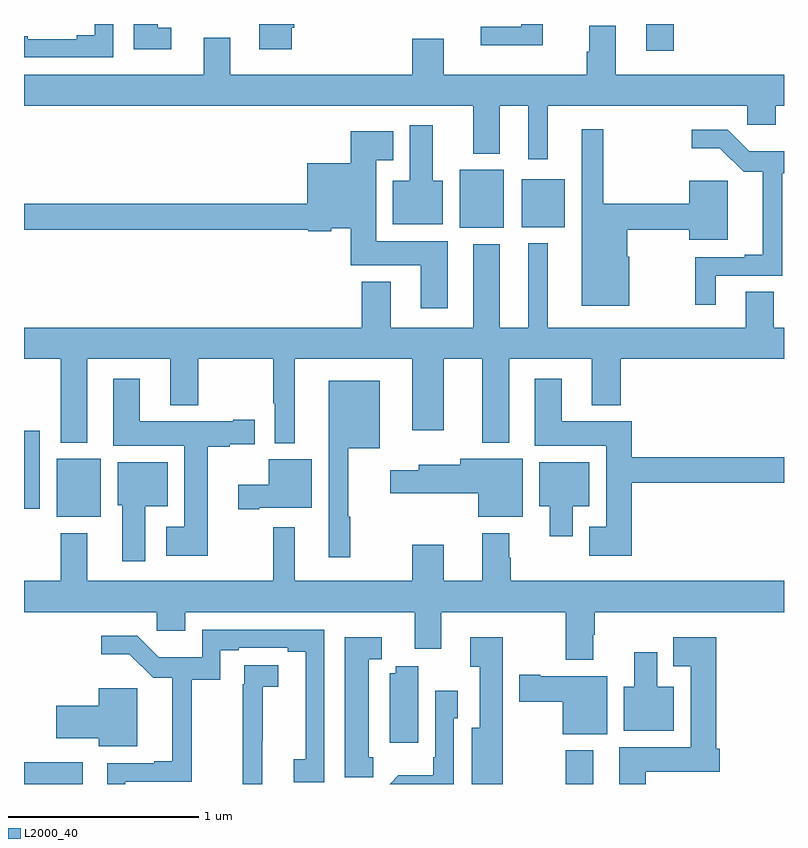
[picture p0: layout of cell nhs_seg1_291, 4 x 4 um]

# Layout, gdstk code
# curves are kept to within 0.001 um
import gdstk
lib = gdstk.Library(unit=1e-6, precision=1e-09)
def R(c, l, rs):  # rectangles x0, y0, x1, y1
    for r in rs: c.add(gdstk.rectangle(r[:2], r[2:], *l))
def P(c, l, *ps):  # polygons
    for p in ps: c.add(gdstk.Polygon(p, *l))
L2000_40 = (2000, 40)

nhs_seg1_291 = lib.new_cell('nhs_seg1_291')
R(nhs_seg1_291, L2000_40, [(127,512.199,127.309,512.314), (129.85,512.199,129.997,512.377), (127.172,513.605,127.405,513.91), (127,513.647,127.084,514.057), (129.293,515.126,129.526,515.431), (129.62,515.129,129.847,515.383), (130.274,516.057,130.421,516.199)])
P(nhs_seg1_291, L2000_40, [(129.729,516.199),(129.617,516.199),(129.617,516.184),(129.405,516.184),(129.405,516.086),(129.729,516.086)],
  [(128.41,516.178),(128.423,516.178),(128.423,516.199),(128.238,516.199),(128.238,516.066),(128.41,516.066)],
  [(127.774,516.18),(127.705,516.18),(127.705,516.199),(127.577,516.199),(127.577,516.065),(127.774,516.065)],
  [(127.47,516.199),(127.373,516.199),(127.373,516.14),(127.277,516.14),(127.277,516.12),(127.021,516.12),(127.021,516.134),(127,516.134),(127,516.024),(127.47,516.024)],
  [(129.757,515.768),(130.806,515.768),(130.806,515.67),(130.957,515.67),(130.957,515.768),(131,515.768),(131,515.932),(130.114,515.932),(130.114,516.19),(129.974,516.19),(129.974,516.053),(129.962,516.053),(129.962,515.932),(129.208,515.932),(129.208,516.121),(129.044,516.121),(129.044,515.932),(128.086,515.932),(128.086,516.127),(127.946,516.127),(127.946,515.932),(127,515.932),(127,515.768),(129.365,515.768),(129.365,515.516),(129.505,515.516),(129.505,515.768),(129.653,515.768),(129.653,515.487),(129.757,515.487)],
  [(129.205,515.374),(129.151,515.374),(129.151,515.665),(129.029,515.665),(129.029,515.374),(128.942,515.374),(128.942,515.144),(129.205,515.144)],
  [(130.186,514.974),(130.174,514.974),(130.174,515.116),(130.502,515.116),(130.502,515.063),(130.705,515.063),(130.705,515.373),(130.502,515.373),(130.502,515.252),(130.049,515.252),(130.049,515.644),(129.935,515.644),(129.935,514.715),(130.186,514.715)],
  [(130.642,514.875),(130.991,514.875),(130.991,515.413),(131,515.413),(131,515.53),(130.817,515.53),(130.704,515.643),(130.515,515.643),(130.515,515.546),(130.663,515.546),(130.789,515.421),(130.889,515.421),(130.889,514.984),(130.793,514.984),(130.793,514.971),(130.533,514.971),(130.533,514.722),(130.642,514.722)],
  [(129.229,515.056),(128.854,515.056),(128.854,515.483),(128.944,515.483),(128.944,515.635),(128.72,515.635),(128.72,515.467),(128.492,515.467),(128.492,515.252),(127,515.252),(127,515.116),(128.496,515.116),(128.496,515.108),(128.616,515.108),(128.616,515.123),(128.72,515.123),(128.72,514.928),(129.089,514.928),(129.089,514.704),(129.229,514.704)],
  [(128.425,514.436),(129.044,514.436),(129.044,514.062),(129.208,514.062),(129.208,514.436),(129.413,514.436),(129.413,513.995),(129.553,513.995),(129.553,514.436),(129.989,514.436),(129.989,514.193),(130.142,514.193),(130.142,514.436),(131,514.436),(131,514.6),(130.947,514.6),(130.947,514.79),(130.799,514.79),(130.799,514.6),(129.757,514.6),(129.757,515.044),(129.653,515.044),(129.653,514.6),(129.505,514.6),(129.505,515.041),(129.365,515.041),(129.365,514.6),(128.929,514.6),(128.929,514.843),(128.777,514.843),(128.777,514.6),(127,514.6),(127,514.436),(127.193,514.436),(127.193,513.995),(127.333,513.995),(127.333,514.436),(127.769,514.436),(127.769,514.193),(127.917,514.193),(127.917,514.436),(128.311,514.436),(128.311,514.204),(128.321,514.204),(128.321,513.992),(128.425,513.992)],
  [(127.966,513.974),(128.082,513.974),(128.082,513.986),(128.215,513.986),(128.215,514.116),(128.102,514.116),(128.102,514.108),(127.609,514.108),(127.609,514.333),(127.469,514.333),(127.469,513.98),(127.844,513.98),(127.844,513.553),(127.749,513.553),(127.749,513.401),(127.966,513.401)],
  [(130.199,513.784),(131,513.784),(131,513.92),(130.199,513.92),(130.199,514.108),(129.829,514.108),(129.829,514.333),(129.689,514.333),(129.689,513.98),(130.064,513.98),(130.064,513.553),(129.974,513.553),(129.974,513.401),(130.199,513.401)],
  [(128.717,513.605),(128.707,513.605),(128.707,513.965),(128.872,513.965),(128.872,514.321),(128.603,514.321),(128.603,513.393),(128.717,513.393)],
  [(129.625,513.91),(129.296,513.91),(129.296,513.88),(129.077,513.88),(129.077,513.85),(128.928,513.85),(128.928,513.728),(129.392,513.728),(129.392,513.605),(129.625,513.605)],
  [(128.239,513.653),(128.515,513.653),(128.515,513.907),(128.288,513.907),(128.288,513.775),(128.127,513.775),(128.127,513.645),(128.239,513.645)],
  [(127.639,513.662),(127.756,513.662),(127.756,513.892),(127.493,513.892),(127.493,513.666),(127.517,513.666),(127.517,513.371),(127.639,513.371)],
  [(129.889,513.662),(129.976,513.662),(129.976,513.892),(129.713,513.892),(129.713,513.662),(129.767,513.662),(129.767,513.504),(129.889,513.504)],
  [(129.997,512.984),(130.005,512.984),(130.005,513.104),(131,513.104),(131,513.268),(129.561,513.268),(129.561,513.389),(129.553,513.389),(129.553,513.52),(129.413,513.52),(129.413,513.268),(129.208,513.268),(129.208,513.457),(129.044,513.457),(129.044,513.268),(128.425,513.268),(128.425,513.55),(128.311,513.55),(128.311,513.268),(127.333,513.268),(127.333,513.52),(127.193,513.52),(127.193,513.268),(127,513.268),(127,513.104),(127.698,513.104),(127.698,513.006),(127.849,513.006),(127.849,513.104),(129.056,513.104),(129.056,512.91),(129.196,512.91),(129.196,513.104),(129.85,513.104),(129.85,512.852),(129.997,512.852)],
  [(127.534,512.211),(127.883,512.211),(127.883,512.749),(128.034,512.749),(128.034,512.902),(128.131,512.902),(128.131,512.916),(128.387,512.916),(128.387,512.896),(128.483,512.896),(128.482,512.329),(128.421,512.329),(128.421,512.209),(128.58,512.209),(128.58,513.012),(127.938,513.012),(127.938,512.866),(127.709,512.866),(127.596,512.979),(127.407,512.979),(127.407,512.882),(127.555,512.882),(127.681,512.757),(127.781,512.757),(127.781,512.32),(127.685,512.32),(127.685,512.307),(127.437,512.307),(127.437,512.199),(127.534,512.199)],
  [(130.273,512.264),(130.661,512.264),(130.661,512.385),(130.643,512.385),(130.643,512.971),(130.418,512.971),(130.418,512.819),(130.508,512.819),(130.508,512.392),(130.133,512.392),(130.133,512.199),(130.273,512.199)],
  [(128.837,512.34),(128.815,512.34),(128.815,512.856),(128.884,512.856),(128.884,512.971),(128.687,512.971),(128.687,512.235),(128.837,512.235)],
  [(129.52,512.971),(129.348,512.971),(129.348,512.815),(129.398,512.815),(129.398,512.494),(129.356,512.494),(129.356,512.199),(129.52,512.199)],
  [(130.42,512.71),(130.333,512.71),(130.333,512.893),(130.211,512.893),(130.211,512.71),(130.157,512.71),(130.157,512.48),(130.42,512.48)],
  [(128.254,512.427),(128.256,512.427),(128.256,512.71),(128.338,512.71),(128.338,512.825),(128.158,512.825),(128.158,512.723),(128.152,512.723),(128.152,512.199),(128.254,512.199)],
  [(129.076,512.819),(128.956,512.819),(128.956,512.782),(128.924,512.782),(128.924,512.415),(129.076,512.415)],
  [(130.069,512.767),(129.718,512.767),(129.718,512.775),(129.606,512.775),(129.606,512.633),(129.836,512.633),(129.836,512.462),(130.069,512.462)],
  [(127.597,512.704),(127.394,512.704),(127.394,512.612),(127.17,512.612),(127.17,512.441),(127.394,512.441),(127.394,512.399),(127.597,512.399)],
  [(129.261,512.544),(129.282,512.544),(129.282,512.689),(129.165,512.689),(129.165,512.341),(129.153,512.341),(129.153,512.245),(128.971,512.245),(128.925,512.199),(129.261,512.199)])

lib.write_gds('nhs_seg1_291.gds')
